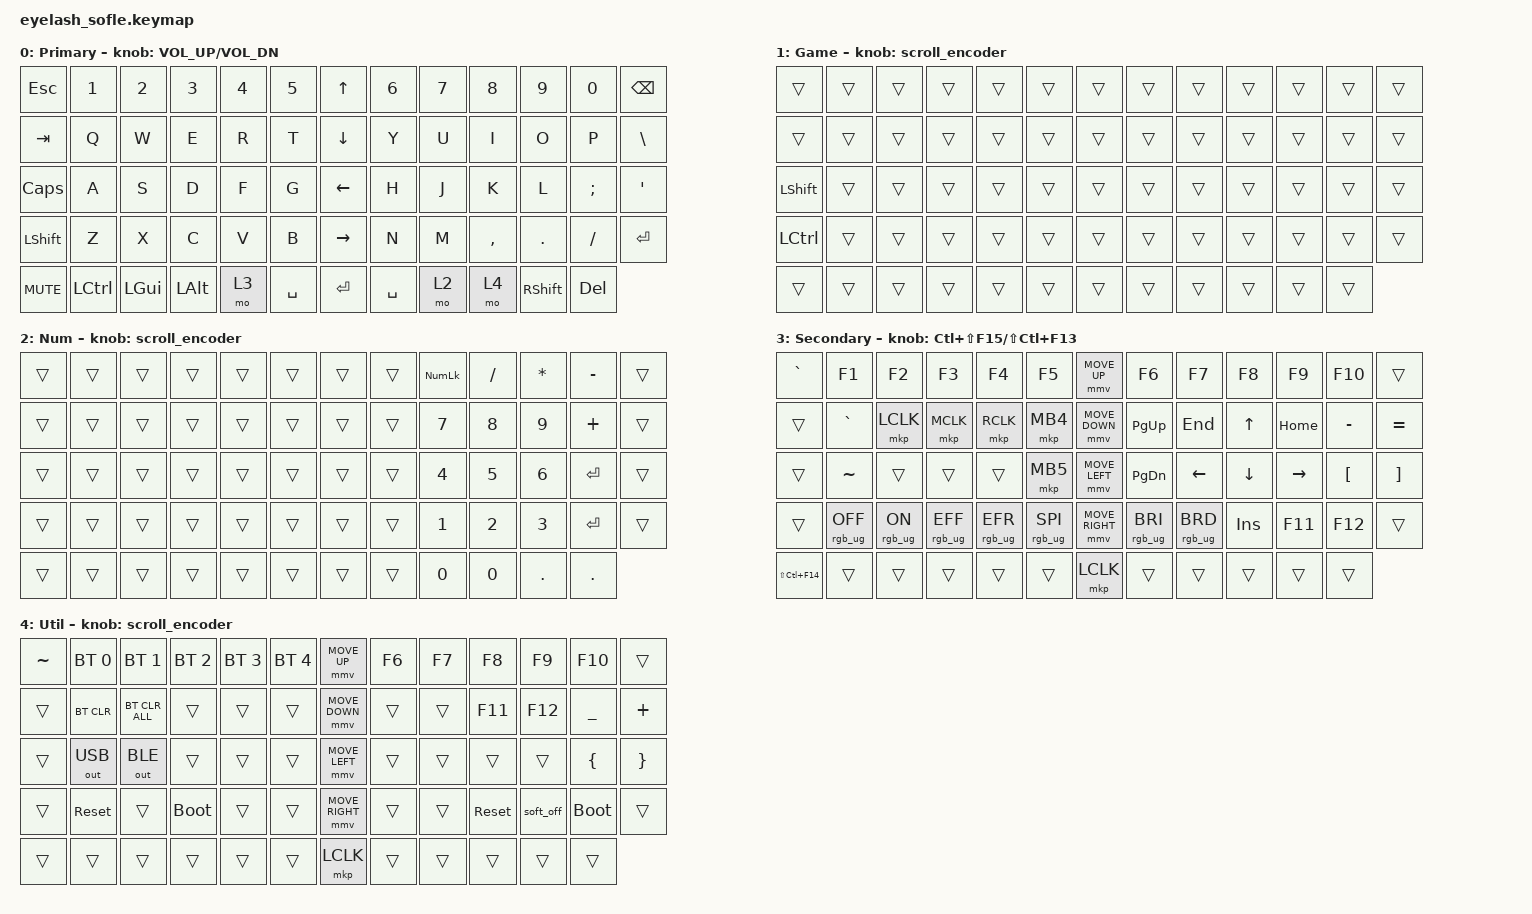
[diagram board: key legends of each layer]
#define ZMK_POINTING_DEFAULT_MOVE_VAL 1200  // 600
#define ZMK_POINTING_DEFAULT_SCRL_VAL 25   // 10

#include <input/processors.dtsi>
#include <zephyr/dt-bindings/input/input-event-codes.h>
#include <behaviors.dtsi>
#include <dt-bindings/zmk/bt.h>
#include <dt-bindings/zmk/keys.h>
#include <dt-bindings/zmk/outputs.h>
#include <dt-bindings/zmk/pointing.h>
#include <dt-bindings/zmk/rgb.h>

&mmv_input_listener { input-processors = <&zip_xy_scaler 2 1>; };

&msc_input_listener { input-processors = <&zip_scroll_scaler 2 1>; };

&msc {
    acceleration-exponent = <1>;      // 0
    time-to-max-speed-ms = <100>;       // 300
    delay-ms = <0>;                   // 0
};

&mmv {
    time-to-max-speed-ms = <500>;
    acceleration-exponent = <1>;
    trigger-period-ms = <16>;
};

&soft_off { hold-time-ms = <2000>; };

/ {
    scroll_encoder: scroll_encoder {
        compatible = "zmk,behavior-sensor-rotate";
        #sensor-binding-cells = <0>;
        bindings = <&msc SCRL_DOWN>, <&msc SCRL_UP>;

        tap-ms = <100>;
    };

    behaviors {
    };

    combos {
        compatible = "zmk,combos";

        softoff {
            bindings = <&soft_off>;
            key-positions = <14 28 40>;
        };

        Gampad {
            bindings = <&tog 1>;
            key-positions = <61 62 63>;
        };

        Backspace {
            bindings = <&kp BACKSPACE>;
            key-positions = <28 29 30>;
        };

        Numpad {
            bindings = <&mo 2>;
            key-positions = <30 28>;
        };
    };

    macros {
        SHIFT_MCLK: SHIFT_MCLK {
            compatible = "zmk,behavior-macro";
            #binding-cells = <0>;
            bindings =
                <&macro_press>,
                <&kp LEFT_SHIFT>,
                <&macro_press>,
                <&mkp MB3>,
                <&macro_pause_for_release>,
                <&macro_release>,
                <&kp LEFT_SHIFT &mkp MB3>;

            label = "SHIFT_MCLK";
        };
    };

    keymap {
        compatible = "zmk,keymap";

        Primary {
            bindings = <
&kp ESC     &kp N1     &kp N2        &kp N3        &kp N4  &kp N5       &kp UP_ARROW     &kp N6     &kp N7  &kp N8     &kp N9           &kp N0      &kp BACKSPACE
&kp TAB     &kp Q      &kp W         &kp E         &kp R   &kp T        &kp DOWN_ARROW   &kp Y      &kp U   &kp I      &kp O            &kp P       &kp BSLH
&kp CAPS    &kp A      &kp S         &kp D         &kp F   &kp G        &kp LEFT_ARROW   &kp H      &kp J   &kp K      &kp L            &kp SEMI    &kp APOS
&kp LSHFT   &kp Z      &kp X         &kp C         &kp V   &kp B        &kp RIGHT_ARROW  &kp N      &kp M   &kp COMMA  &kp DOT          &kp FSLH    &kp ENTER
&kp C_MUTE  &kp LCTRL  &kp LEFT_GUI  &kp LEFT_ALT  &mo 3   &kp SPACE    &kp ENTER        &kp SPACE  &mo 2   &mo 4      &kp RIGHT_SHIFT  &kp DELETE
            >;

            sensor-bindings = <&inc_dec_kp C_VOLUME_UP C_VOL_DN>;
            display-name = "Primary";
        };

        Gamepad {
            bindings = <
&trans          &trans  &trans  &trans  &trans  &trans    &trans  &trans  &trans  &trans  &trans  &trans  &trans
&trans          &trans  &trans  &trans  &trans  &trans    &trans  &trans  &trans  &trans  &trans  &trans  &trans
&kp LEFT_SHIFT  &trans  &trans  &trans  &trans  &trans    &trans  &trans  &trans  &trans  &trans  &trans  &trans
&kp LCTRL       &trans  &trans  &trans  &trans  &trans    &trans  &trans  &trans  &trans  &trans  &trans  &trans
&trans          &trans  &trans  &trans  &trans  &trans    &trans  &trans  &trans  &trans  &trans  &trans
            >;

            display-name = "Game";
            sensor-bindings = <&scroll_encoder>;
        };

        Numpad {
            bindings = <
&trans  &trans  &trans  &trans  &trans  &trans    &trans  &trans  &kp KP_NUMLOCK  &kp FSLH  &kp STAR  &kp MINUS  &trans
&trans  &trans  &trans  &trans  &trans  &trans    &trans  &trans  &kp N7          &kp N8    &kp N9    &kp PLUS   &trans
&trans  &trans  &trans  &trans  &trans  &trans    &trans  &trans  &kp N4          &kp N5    &kp N6    &kp RET    &trans
&trans  &trans  &trans  &trans  &trans  &trans    &trans  &trans  &kp N1          &kp N2    &kp N3    &kp RET    &trans
&trans  &trans  &trans  &trans  &trans  &trans    &trans  &trans  &kp N0          &kp N0    &kp DOT   &kp DOT
            >;

            display-name = "Num";
            sensor-bindings = <&scroll_encoder>;
        };

        Secondary {
            bindings = <
&kp GRAVE        &kp F1           &kp F2          &kp F3           &kp F4           &kp F5             &mmv MOVE_UP     &kp F6           &kp F7           &kp F8      &kp F9     &kp F10           &trans
&trans           &kp GRAVE        &mkp LCLK       &mkp MCLK        &mkp RCLK        &mkp MB4           &mmv MOVE_DOWN   &kp PG_UP        &kp END          &kp UP      &kp HOME   &kp MINUS         &kp EQUAL
&trans           &kp TILDE        &trans          &trans           &trans           &mkp MB5           &mmv MOVE_LEFT   &kp PG_DN        &kp LEFT         &kp DOWN    &kp RIGHT  &kp LEFT_BRACKET  &kp RIGHT_BRACKET
&trans           &rgb_ug RGB_OFF  &rgb_ug RGB_ON  &rgb_ug RGB_EFF  &rgb_ug RGB_EFR  &rgb_ug RGB_SPI    &mmv MOVE_RIGHT  &rgb_ug RGB_BRI  &rgb_ug RGB_BRD  &kp INSERT  &kp F11    &kp F12           &trans
&kp LS(LC(F14))  &trans           &trans          &trans           &trans           &trans             &mkp LCLK        &trans           &trans           &trans      &trans     &trans
            >;

            display-name = "Secondary";
            sensor-bindings = <&inc_dec_kp LC(LS(F15)) LS(LC(F13))>;
        };

        Util {
            bindings = <
&kp TILDE  &bt BT_SEL 0  &bt BT_SEL 1    &bt BT_SEL 2  &bt BT_SEL 3  &bt BT_SEL 4    &mmv MOVE_UP     &kp F6  &kp F7  &kp F8      &kp F9     &kp F10      &trans
&trans     &bt BT_CLR    &bt BT_CLR_ALL  &trans        &trans        &trans          &mmv MOVE_DOWN   &trans  &trans  &kp F11     &kp F12    &kp UNDER    &kp PLUS
&trans     &out OUT_USB  &out OUT_BLE    &trans        &trans        &trans          &mmv MOVE_LEFT   &trans  &trans  &trans      &trans     &kp LBRC     &kp RBRC
&trans     &sys_reset    &trans          &bootloader   &trans        &trans          &mmv MOVE_RIGHT  &trans  &trans  &sys_reset  &soft_off  &bootloader  &trans
&trans     &trans        &trans          &trans        &trans        &trans          &mkp LCLK        &trans  &trans  &trans      &trans     &trans
            >;

            display-name = "Util";
            sensor-bindings = <&scroll_encoder>;
        };
    };
};
